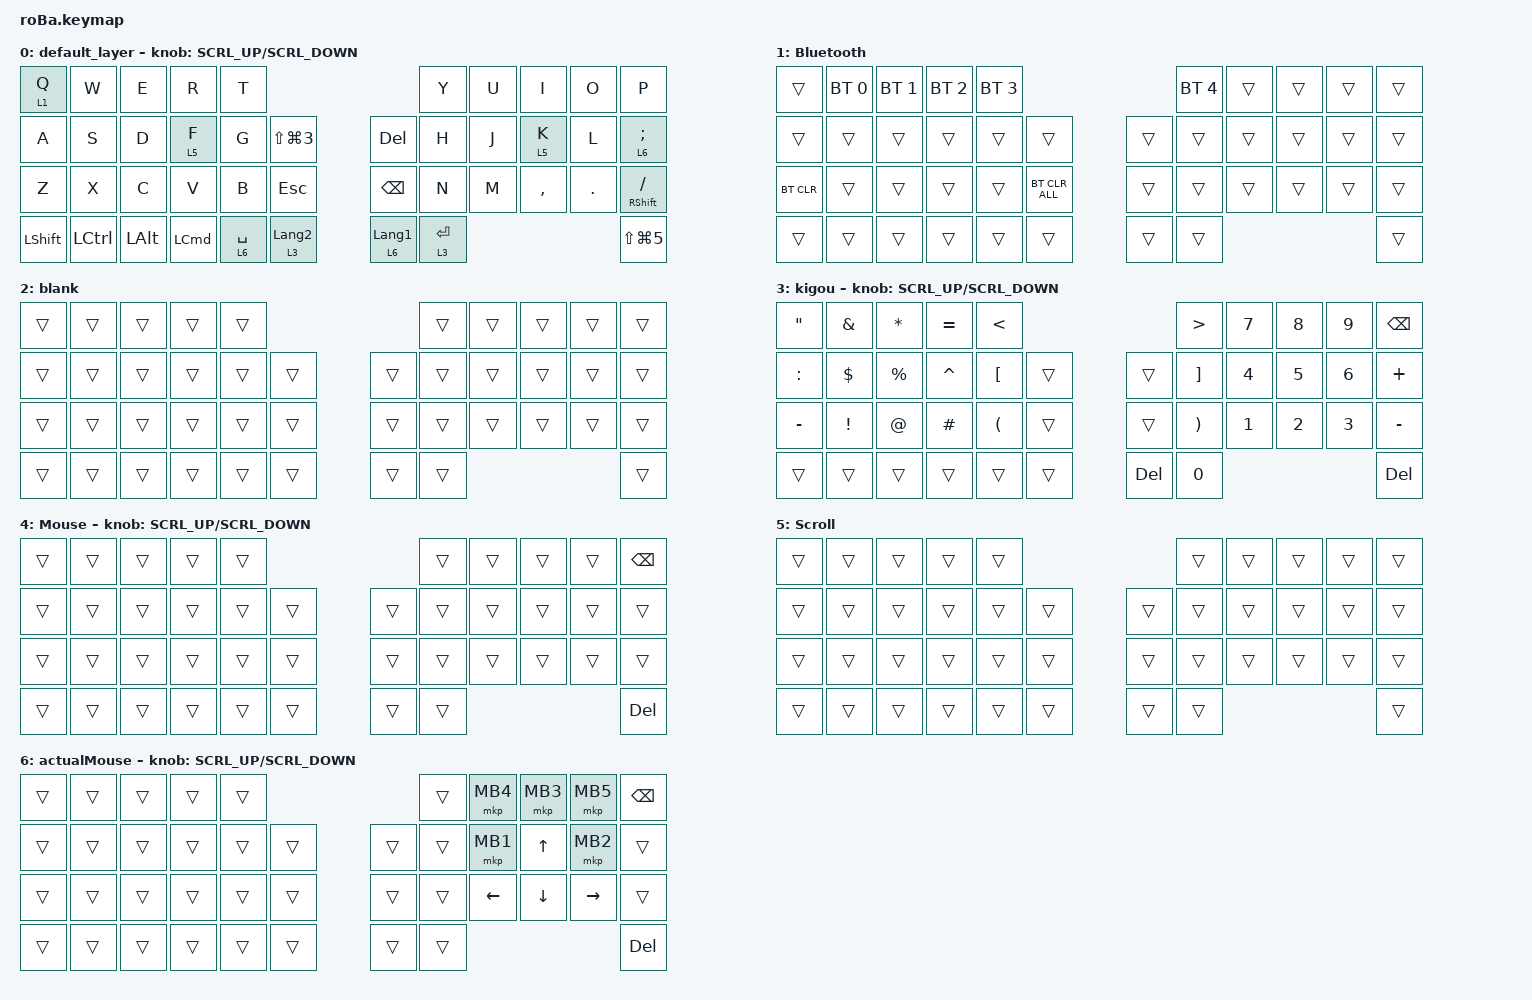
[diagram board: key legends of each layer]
#include <behaviors.dtsi>
#include <dt-bindings/zmk/bt.h>
#include <dt-bindings/zmk/keys.h>
#include <dt-bindings/zmk/pointing.h>

// #includeのあとのあたりにスクロール量変更の定義を追記

#define MOUSE 4
#define SCROLL 5
#define NUM 6
#define ZMK_POINTING_DEFAULT_SCRL_VAL 120 // (好きな値)

&mt {
    flavor = "balanced";
    quick-tap-ms = <0>;
};

/ {
    combos {
        compatible = "zmk,combos";

        tab {
            bindings = <&kp TAB>;
            key-positions = <11 10>;
        };

        shift_tab {
            bindings = <&kp LS(TAB)>;
            key-positions = <12 13>;
        };

        double_quotation {
            bindings = <&kp DOUBLE_QUOTES>;
            key-positions = <20 21>;
        };

        eq {
            bindings = <&kp EQUAL>;
            key-positions = <24 25>;
        };
    };

    macros {
        to_layer_0: to_layer_0 {
            compatible = "zmk,behavior-macro-one-param";
            #binding-cells = <1>;
            bindings = <&to 0 &macro_param_1to1 &kp MACRO_PLACEHOLDER>;
            label = "TO_LAYER_0";
        };
    };

    // combosやmacrosと同じ階層に以下のbihaviorsを追記
    // スクロール方向を逆にしたい場合は <&msc SCRL_DOWN> と <&msc SCRL_UP> を入れ替えてください

    behaviors {
        lt_to_layer_0: lt_to_layer_0 {
            compatible = "zmk,behavior-hold-tap";
            label = "LAYER_TAP_TO_0";
            bindings = <&mo>, <&to_layer_0>;

            #binding-cells = <2>;
            tapping-term-ms = <200>;
        };

        mouse_scrl: mouse_wheel_scrl {
            compatible = "zmk,behavior-sensor-rotate-var";
            #sensor-binding-cells = <2>;
            bindings = <&msc>, <&msc>;

            tap-ms = <10>;
        };
    };

    keymap {
        compatible = "zmk,keymap";

        // 設定したいレイヤーに sensor-bindings = <&mouse_scrl SCRL_UP SCRL_DOWN>; を追記

        default_layer {
            bindings = <
&lt 1 Q         &kp W             &kp E         &kp R             &kp T                                                           &kp Y        &kp U  &kp I      &kp O    &kp P
&kp A           &kp S             &kp D         &lt 5 F           &kp G        &kp LS(LG(NUMBER_3))             &kp DELETE        &kp H        &kp J  &lt 5 K    &kp L    &lt 6 SEMI
&kp Z           &kp X             &kp C         &kp V             &kp B        &kp ESCAPE                       &kp BACKSPACE     &kp N        &kp M  &kp COMMA  &kp DOT  &mt RIGHT_SHIFT SLASH
&kp LEFT_SHIFT  &kp LEFT_CONTROL  &kp LEFT_ALT  &kp LEFT_COMMAND  &lt 6 SPACE  &lt_to_layer_0 3 LANGUAGE_2      &lt 6 LANGUAGE_1  &lt 3 ENTER                             &kp LS(LG(N5))
            >;

            sensor-bindings = <&mouse_scrl SCRL_UP SCRL_DOWN>;
        };

        Bluetooth {
            bindings = <
&trans      &bt BT_SEL 0  &bt BT_SEL 1  &bt BT_SEL 2  &bt BT_SEL 3                              &bt BT_SEL 4  &trans  &trans  &trans  &trans
&trans      &trans        &trans        &trans        &trans        &trans              &trans  &trans        &trans  &trans  &trans  &trans
&bt BT_CLR  &trans        &trans        &trans        &trans        &bt BT_CLR_ALL      &trans  &trans        &trans  &trans  &trans  &trans
&trans      &trans        &trans        &trans        &trans        &trans              &trans  &trans                                &trans
            >;
        };

        blank {
            bindings = <
&trans  &trans  &trans  &trans  &trans                      &trans  &trans  &trans  &trans  &trans
&trans  &trans  &trans  &trans  &trans  &trans      &trans  &trans  &trans  &trans  &trans  &trans
&trans  &trans  &trans  &trans  &trans  &trans      &trans  &trans  &trans  &trans  &trans  &trans
&trans  &trans  &trans  &trans  &trans  &trans      &trans  &trans                          &trans
            >;
        };

        kigou {
            bindings = <
&kp DOUBLE_QUOTES  &kp AMPERSAND    &kp ASTERISK  &kp EQUAL  &kp LESS_THAN                              &kp GREATER_THAN       &kp N7        &kp N8        &kp N9        &kp BACKSPACE
&kp COLON          &kp DOLLAR       &kp PERCENT   &kp CARET  &kp LEFT_BRACKET      &trans      &trans   &kp RIGHT_BRACKET      &kp NUMBER_4  &kp N5        &kp NUMBER_6  &kp PLUS
&kp MINUS          &kp EXCLAMATION  &kp AT_SIGN   &kp HASH   &kp LEFT_PARENTHESIS  &trans      &trans   &kp RIGHT_PARENTHESIS  &kp NUMBER_1  &kp NUMBER_2  &kp NUMBER_3  &kp MINUS
&trans             &trans           &trans        &trans     &trans                &trans      &kp DEL  &kp N0                                                           &kp DELETE
            >;

            sensor-bindings = <&mouse_scrl SCRL_UP SCRL_DOWN>;
        };

        Mouse {
            bindings = <
&trans  &trans  &trans  &trans  &trans                      &trans  &trans  &trans  &trans  &kp BACKSPACE
&trans  &trans  &trans  &trans  &trans  &trans      &trans  &trans  &trans  &trans  &trans  &trans
&trans  &trans  &trans  &trans  &trans  &trans      &trans  &trans  &trans  &trans  &trans  &trans
&trans  &trans  &trans  &trans  &trans  &trans      &trans  &trans                          &kp DELETE
            >;

            sensor-bindings = <&mouse_scrl SCRL_UP SCRL_DOWN>;
        };

        Scroll {
            bindings = <
&trans  &trans  &trans  &trans  &trans                      &trans  &trans  &trans  &trans  &trans
&trans  &trans  &trans  &trans  &trans  &trans      &trans  &trans  &trans  &trans  &trans  &trans
&trans  &trans  &trans  &trans  &trans  &trans      &trans  &trans  &trans  &trans  &trans  &trans
&trans  &trans  &trans  &trans  &trans  &trans      &trans  &trans                          &trans
            >;
        };

        actualMouse {
            bindings = <
&trans  &trans  &trans  &trans  &trans                      &trans  &mkp MB4  &mkp MB3      &mkp MB5   &kp BACKSPACE
&trans  &trans  &trans  &trans  &trans  &trans      &trans  &trans  &mkp MB1  &kp UP_ARROW  &mkp MB2   &trans
&trans  &trans  &trans  &trans  &trans  &trans      &trans  &trans  &kp LEFT  &kp DOWN      &kp RIGHT  &trans
&trans  &trans  &trans  &trans  &trans  &trans      &trans  &trans                                     &kp DELETE
            >;

            sensor-bindings = <&mouse_scrl SCRL_UP SCRL_DOWN>;
        };
    };
};
